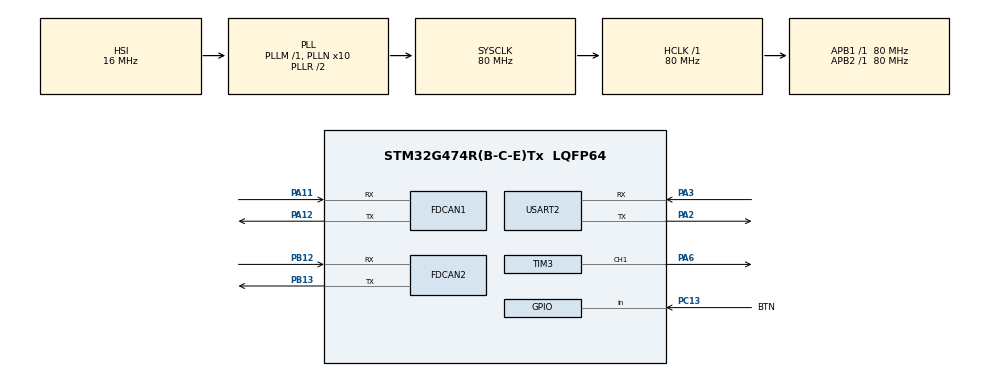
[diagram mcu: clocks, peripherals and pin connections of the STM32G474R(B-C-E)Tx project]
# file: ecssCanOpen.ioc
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FDCAN1.CalculateBaudRateNominal=500000
FDCAN1.CalculateTimeBitNominal=2000
FDCAN1.CalculateTimeQuantumNominal=125.0
FDCAN1.NominalPrescaler=10
FDCAN1.NominalTimeSeg1=13
FDCAN2.CalculateBaudRateNominal=500000
FDCAN2.CalculateTimeBitNominal=2000
FDCAN2.CalculateTimeQuantumNominal=125.0
FDCAN2.NominalPrescaler=10
FDCAN2.NominalTimeSeg1=13
Mcu.Family=STM32G4
Mcu.Name=STM32G474R(B-C-E)Tx
Mcu.Package=LQFP64
NVIC.FDCAN1_IT0_IRQn=true\:0\:0\:false\:false\:true\:true\:true\:true
NVIC.FDCAN2_IT0_IRQn=true\:0\:0\:false\:false\:true\:true\:true\:true
NVIC.PriorityGroup=NVIC_PRIORITYGROUP_4
PA11.Mode=FDCAN_Activate
PA11.Signal=FDCAN1_RX
PA12.Mode=FDCAN_Activate
PA12.Signal=FDCAN1_TX
PA2.Mode=Asynchronous
PA2.Signal=USART2_TX
PA3.Mode=Asynchronous
PA3.Signal=USART2_RX
PA6.Signal=S_TIM3_CH1
PB12.Mode=FDCAN_Activate
PB12.Signal=FDCAN2_RX
PB13.Mode=FDCAN_Activate
PB13.Signal=FDCAN2_TX
PC13.GPIO_Label=BTN
PC13.GPIO_PuPd=GPIO_PULLDOWN
PC13.Signal=GPIO_Input
ProjectManager.HeapSize=0x200
ProjectManager.StackSize=0x400
ProjectManager.TargetToolchain=STM32CubeIDE
RCC.ADC12Freq_Value=80000000
RCC.ADC345Freq_Value=80000000
RCC.AHBFreq_Value=80000000
RCC.APB1Freq_Value=80000000
RCC.APB1TimFreq_Value=80000000
RCC.APB2Freq_Value=80000000
RCC.APB2TimFreq_Value=80000000
RCC.CortexFreq_Value=80000000
RCC.EXTERNAL_CLOCK_VALUE=12288000
RCC.HCLKFreq_Value=80000000
RCC.HSE_VALUE=8000000
RCC.HSI48_VALUE=48000000
RCC.HSI_VALUE=16000000
RCC.LSE_VALUE=32768
RCC.PLLN=10
RCC.SYSCLKFreq_VALUE=80000000
RCC.SYSCLKSource=RCC_SYSCLKSOURCE_PLLCLK
RCC.USBFreq_Value=80000000
RCC.VCOOutputFreq_Value=160000000
SH.S_TIM3_CH1.0=TIM3_CH1,PWM Generation1 CH1
TIM3.Channel-PWM\ Generation1\ CH1=TIM_CHANNEL_1
TIM3.PeriodNoDither=19999
TIM3.Prescaler=79
TIM3.PulseNoDither_1=1
USART2.VirtualMode-Asynchronous=VM_ASYNC
VP_SYS_VS_DBSignals.Mode=DisableDeadBatterySignals
VP_TIM3_VS_ClockSourceINT.Mode=Internal
board=custom

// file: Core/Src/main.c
/* USER CODE BEGIN Header */
/**
  ******************************************************************************
  * @file           : main.c
  * @brief          : Main program body
  ******************************************************************************
  * @attention
  *
  * Copyright (c) 2026 STMicroelectronics.
  * All rights reserved.
  *
  * This software is licensed under terms that can be found in the LICENSE file
  * in the root directory of this software component.
  * If no LICENSE file comes with this software, it is provided AS-IS.
  *
  ******************************************************************************
  */
/* USER CODE END Header */
#include "main.h"
#include "fdcan.h"
#include "tim.h"
#include "usart.h"
#include "gpio.h"

/* USER CODE BEGIN Includes */
#include <lely/config.h>
#include <assert.h>
//#include <signal.h>
#include <stdbool.h>
#include <stdio.h>
#include <string.h>
//#include <unistd.h>
#include <stdarg.h>
/* lely-core headers */
//#include <lelc>

#include <lely/can/msg.h>
#include <lely/can/net.h>
#include <lely/co/csdo.h>
#include <lely/co/dev.h>
#include <lely/co/nmt.h>
#include <lely/co/ssdo.h>
#include <lely/co/tpdo.h>
#include <lely/util/error.h>
#include <lely/util/mempool.h>
//#include <lely/util/time.h>

#include "od_slave.h"
/* USER CODE END Includes */

/* USER CODE BEGIN PD */

#if defined(LELY_NO_CO_OBJ_DEFAULT)
#warning "LELY_NO_CO_OBJ_DEFAULT=1"
#else
#warning "LELY_NO_CO_OBJ_DEFAULT=0"
#endif

#if defined(LELY_NO_CO_OBJ_LIMITS)
#warning "LELY_NO_CO_OBJ_LIMITS=1"
#else
#warning "LELY_NO_CO_OBJ_LIMITS=0"
#endif

#if defined(LELY_NO_CO_OBJ_NAME)
#warning "LELY_NO_CO_OBJ_NAME=1"
#else
#warning "LELY_NO_CO_OBJ_NAME=0"
#endif

#if defined(LELY_NO_CO_OBJ_UPLOAD)
#warning "LELY_NO_CO_OBJ_UPLOAD=1"
#else
#warning "LELY_NO_CO_OBJ_UPLOAD=0"
#endif

#define MASTER_NODE_ID 0x01u

#define BUS_A_ID 0x00u
#define BUS_B_ID 0x01u

/* PDO-mapped object dictionary indices */
#define OD_IDX_U32 0x2100u
#define OD_IDX_I8 0x2101u
#define OD_SUBIDX 0x00u

/* Initial values for PDO-mapped objects */
#define INITIAL_VAL_U32 0xCAFE0000u
#define INITIAL_VAL_I8 ((co_integer8_t)0x7F)

/* PDO number (first TPDO) */
#define PDO_NUM 1u

/* Producer heartbeat time (ms) */
#define HB_PRODUCER_MS 500u

/* How long to produce heartbeats before stopping (seconds) */
#define HB_STOP_DELAY_SEC 5

/* ── Memory pool ───────────────────────────────────────────────────────── */

#ifndef MEMORY_POOL_SIZE
#define MEMORY_POOL_SIZE (90U * 1024U)
#endif

/* USER CODE END PD */

/* USER CODE BEGIN PV */
static uint32_t mp_guard1 = 0x11223344;
static uint8_t memory_pool[MEMORY_POOL_SIZE] __attribute__((aligned(16)));
static uint32_t mp_guard2 = 0x55667788;
static struct mempool pool;

//static volatile sig_atomic_t g_running = 1;
static co_dev_t *dev;
static co_nmt_t *nmt;
static can_net_t *net;

static co_unsigned32_t g_val_u32 = INITIAL_VAL_U32;
static co_integer8_t g_val_i8 = INITIAL_VAL_I8;
static uint32_t g_sync_count = 0;
static uint32_t g_tpdo_count = 0;

/* State machine */
enum slave_state {
  ST_WAIT_START,    /* Waiting for master NMT START */
  ST_OPERATIONAL,   /* Running with heartbeat on bus A */
  ST_HB_STOPPED,    /* Heartbeat stopped, waiting for bus switch */
  ST_RUNNING_BUS_B, /* On bus B, heartbeat re-enabled */
};
static enum slave_state g_state = ST_WAIT_START;
static struct timespec g_op_start_time;

/* ── Dual CAN sockets (vcan0 = bus A, vcan1 = bus B) ──────────────────── */

static int g_fd_a = -1; /* vcan0 */
static int g_fd_b = -1; /* vcan1 */
/* USER CODE END PV */

void SystemClock_Config(void);

/* USER CODE BEGIN 0 */

static void HAL_LOG(const char *s)
{
  if (!s) return;
  HAL_UART_Transmit(&huart2, (uint8_t*)s, (uint16_t)strlen(s), 100);
  const char crlf[] = "\r\n";
  HAL_UART_Transmit(&huart2, (uint8_t*)crlf, 2, 100);
}

static void HAL_LOGF(const char *fmt, ...)
{
  char buf[256];
  va_list ap;
  va_start(ap, fmt);
  vsnprintf(buf, sizeof(buf), fmt, ap);
  va_end(ap);
  HAL_LOG(buf);
}
/* --- STM32 replacement for x86 HAL_Clock_GetTime() --- */
void HAL_Clock_GetTime(struct timespec *tp)
{
  if (!tp) return;

  uint32_t ms = HAL_GetTick();            /* ms since boot */
  tp->tv_sec  = (time_t)(ms / 1000u);
  tp->tv_nsec = (long)((ms % 1000u) * 1000000L);
}

/* ===== Helpers: DLC map ===== */
static uint32_t len_to_fdcan_dlc(uint8_t len)
{
  switch (len) {
    case 0: return FDCAN_DLC_BYTES_0;
    case 1: return FDCAN_DLC_BYTES_1;
    case 2: return FDCAN_DLC_BYTES_2;
    case 3: return FDCAN_DLC_BYTES_3;
    case 4: return FDCAN_DLC_BYTES_4;
    case 5: return FDCAN_DLC_BYTES_5;
    case 6: return FDCAN_DLC_BYTES_6;
    case 7: return FDCAN_DLC_BYTES_7;
    default: return FDCAN_DLC_BYTES_8;
  }
}

static uint8_t fdcan_dlc_to_len(uint32_t dlc)
{
  switch (dlc) {
    case FDCAN_DLC_BYTES_0: return 0;
    case FDCAN_DLC_BYTES_1: return 1;
    case FDCAN_DLC_BYTES_2: return 2;
    case FDCAN_DLC_BYTES_3: return 3;
    case FDCAN_DLC_BYTES_4: return 4;
    case FDCAN_DLC_BYTES_5: return 5;
    case FDCAN_DLC_BYTES_6: return 6;
    case FDCAN_DLC_BYTES_7: return 7;
    case FDCAN_DLC_BYTES_8: return 8;
    default: return 8;
  }
}

/* ===== fd -> FDCAN handle ===== */
static inline FDCAN_HandleTypeDef* fd_to_fdcan(int fd)
{
  if (fd == g_fd_b) return &hfdcan2;   /* bus B */
  return &hfdcan1;                    /* bus A (default) */
}

static bool can_send_bus(int fd, const struct can_msg *msg)
{
  if (!msg) return false;

  FDCAN_HandleTypeDef *h = fd_to_fdcan(fd);

  FDCAN_TxHeaderTypeDef th;
  uint8_t data[8] = {0};

  memset(&th, 0, sizeof(th));

  /* Heurystyka: ID > 0x7FF traktujemy jako extended */
  if ((msg->id & 0x1FFFFFFFu) > 0x7FFu) {
    th.IdType = FDCAN_EXTENDED_ID;
    th.Identifier = (uint32_t)(msg->id & 0x1FFFFFFFu);
  } else {
    th.IdType = FDCAN_STANDARD_ID;
    th.Identifier = (uint32_t)(msg->id & 0x7FFu);
  }

  th.TxFrameType = FDCAN_DATA_FRAME;
  th.DataLength  = len_to_fdcan_dlc((uint8_t)((msg->len > 8) ? 8 : msg->len));
  th.ErrorStateIndicator = FDCAN_ESI_ACTIVE;
  th.BitRateSwitch = FDCAN_BRS_OFF;          /* Classic CAN */
  th.FDFormat = FDCAN_CLASSIC_CAN;           /* Classic CAN */
  th.TxEventFifoControl = FDCAN_NO_TX_EVENTS;
  th.MessageMarker = 0;

  uint8_t len = (uint8_t)((msg->len > 8) ? 8 : msg->len);
  memcpy(data, msg->data, len);

  /* UWAGA: musisz mieć HAL_FDCAN_Start() zrobione wcześniej */
  if (HAL_FDCAN_AddMessageToTxFifoQ(h, &th, data) != HAL_OK) {
    return false;
  }
  return true;
}

static bool can_recv_bus(int fd, struct can_msg *msg)
{
  if (!msg) return false;

  FDCAN_HandleTypeDef *h = fd_to_fdcan(fd);

  /* Non-blocking: jak FIFO puste -> false */
  if (HAL_FDCAN_GetRxFifoFillLevel(h, FDCAN_RX_FIFO0) == 0u) {
    return false;
  }

  FDCAN_RxHeaderTypeDef rh;
  uint8_t data[8];

  if (HAL_FDCAN_GetRxMessage(h, FDCAN_RX_FIFO0, &rh, data) != HAL_OK) {
    return false;
  }

  memset(msg, 0, sizeof(*msg));

  if (rh.IdType == FDCAN_EXTENDED_ID) {
    msg->id = (uint_least32_t)(rh.Identifier & 0x1FFFFFFFu);
  } else {
    msg->id = (uint_least32_t)(rh.Identifier & 0x7FFu);
  }

  msg->len = fdcan_dlc_to_len(rh.DataLength);
  if (msg->len > 8) msg->len = 8;
  memcpy(msg->data, data, msg->len);

  return true;
}

/* ── CAN send handler (routes by bus_id) ───────────────────────────────── */

static int can_send_handler(const struct can_msg *const msg,
                            const uint_least8_t bus_id, void *const data) {
  (void)data;

  if (bus_id == BUS_B_ID) {
    return can_send_bus(g_fd_b, msg) ? 0 : -1;
  }
  /* Default: bus A */
  return can_send_bus(g_fd_a, msg) ? 0 : -1;
}

/* ── Signal handler ────────────────────────────────────────────────────── */

//static void signal_handler(int sig)
//{
//  (void)sig;
//  g_running = 0;
//}

/* ── Stop heartbeat production ─────────────────────────────────────────── */

static void stop_heartbeat(void) {
  const co_unsigned16_t zero = 0;
  const int rc = co_dev_dn_val_req(dev, 0x1017u, 0x00u, CO_DEFTYPE_UNSIGNED16,
                                   &zero, NULL, NULL, NULL);
  if (rc != 0) {
    HAL_LOG("[SLAVE] Failed to set producer heartbeat time to 0");
  } else {
    HAL_LOG("[SLAVE] Heartbeat producer STOPPED (set to 0 ms)");
  }
}

/* ── Restart heartbeat production ──────────────────────────────────────── */

static void restart_heartbeat(void) {
  const co_unsigned16_t hb = HB_PRODUCER_MS;
  const int rc = co_dev_dn_val_req(dev, 0x1017u, 0x00u, CO_DEFTYPE_UNSIGNED16,
                                   &hb, NULL, NULL, NULL);
  if (rc != 0) {
    HAL_LOG("[SLAVE] Failed to restart heartbeat producer");
  } else {
    HAL_LOGF("[SLAVE] Heartbeat producer RESTARTED (%u ms)", HB_PRODUCER_MS);
  }
}

/* ── TPDO indication callback ──────────────────────────────────────────── */

static void tpdo_ind(co_tpdo_t *pdo, co_unsigned32_t ac, const void *ptr,
                     size_t n, void *data) {
  (void)pdo;
  (void)ptr;
  (void)n;
  (void)data;

  if (ac != 0) {
    HAL_LOGF("[SLAVE] TPDO error, abort code 0x%08X", (unsigned)ac);
    return;
  }

  ++g_tpdo_count;
  HAL_LOGF("[SLAVE] TPDO #%u sent: U32=0x%08X, I8=%d (%u bytes)", g_tpdo_count,
           (unsigned)g_val_u32, (int)g_val_i8, (unsigned)n);
}

/* ── NMT SYNC indication callback ─────────────────────────────────────── */

static void nmt_sync_ind(co_nmt_t *nmt_, co_unsigned8_t cnt, void *data) {
  (void)nmt_;
  (void)data;

  ++g_sync_count;

  /* Update OD values for the next SYNC cycle */
  ++g_val_u32;
  --g_val_i8;

  co_dev_set_val_u32(dev, OD_IDX_U32, OD_SUBIDX, g_val_u32);
  co_dev_set_val_i8(dev, OD_IDX_I8, OD_SUBIDX, g_val_i8);

  HAL_LOGF("[SLAVE] SYNC #%u produced (cnt=%u)", g_sync_count, cnt);
}

/* ── NMT command indication ────────────────────────────────────────────── */

static void cs_ind(co_nmt_t *nmt_, co_unsigned8_t cs, void *data) {
  (void)nmt_;
  (void)data;

  const char *cmd_name = "unknown";
  switch (cs) {
  case CO_NMT_CS_START:
    cmd_name = "START";
    break;
  case CO_NMT_CS_STOP:
    cmd_name = "STOP";
    break;
  case CO_NMT_CS_ENTER_PREOP:
    cmd_name = "ENTER PRE-OP";
    break;
  case CO_NMT_CS_RESET_NODE:
    cmd_name = "RESET NODE";
    break;
  case CO_NMT_CS_RESET_COMM:
    cmd_name = "RESET COMM";
    break;
  }

  HAL_LOGF("[SLAVE] Received NMT command: %s (0x%02X)", cmd_name, cs);
}

/* ── NMT heartbeat indication ─────────────────────────────────────────── */

static void hb_ind(co_nmt_t *nmt_, co_unsigned8_t id,
                   co_nmt_ec_state_t ec_state, co_nmt_ec_reason_t reason,
                   void *data) {
  (void)data;

  if (reason == CO_NMT_EC_TIMEOUT) {
    if (ec_state == CO_NMT_EC_OCCURRED) {
      HAL_LOGF("[SLAVE] Heartbeat TIMEOUT for Node 0x%02X "
               "(master lost on current bus)",
               id);
    } else {
      HAL_LOGF("[SLAVE] Heartbeat timeout RESOLVED for Node 0x%02X "
               "(master found again)",
               id);
    }
  } else if (reason == CO_NMT_EC_STATE) {
    HAL_LOGF("[SLAVE] Heartbeat state change for Node 0x%02X", id);
  }

  /* Let lely-core handle the internal NMT / redundancy actions */
  co_nmt_on_hb(nmt_, id, ec_state, reason);
}

/* ── NMT redundancy indication ─────────────────────────────────────────── */

static void rdn_ind(co_nmt_t *nmt_, co_unsigned8_t bus_id,
                    co_nmt_ecss_rdn_reason_t reason, void *data) {
  (void)nmt_;
  (void)data;

  const char *bus_name = (bus_id == BUS_B_ID) ? "B (vcan1)" : "A (vcan0)";

  switch (reason) {
  case CO_NMT_ECSS_RDN_BUS_SWITCH:
    HAL_LOGF("[SLAVE] REDUNDANCY: Bus switch — now active on bus %s", bus_name);
    /* Re-enable heartbeat after switching to redundant bus */
    if (g_state == ST_HB_STOPPED && bus_id == BUS_B_ID) {
      restart_heartbeat();
      g_state = ST_RUNNING_BUS_B;
      HAL_LOG(
          "[SLAVE] Now running on redundant bus B with all services active.");
    }
    break;
  case CO_NMT_ECSS_RDN_NO_MASTER:
    HAL_LOGF("[SLAVE] REDUNDANCY: No master detected after toggling! "
             "Entering no-master operation on bus %s",
             bus_name);
    break;
  }
}

/* ── NMT state-change indication ───────────────────────────────────────── */

static void st_ind(co_nmt_t *nmt_, co_unsigned8_t id, co_unsigned8_t st,
                   void *data) {
  (void)nmt_;
  (void)data;

  const char *state_name = "unknown";
  switch (st) {
  case CO_NMT_ST_BOOTUP:
    state_name = "BOOT-UP";
    break;
  case CO_NMT_ST_STOP:
    state_name = "STOPPED";
    break;
  case CO_NMT_ST_START:
    state_name = "OPERATIONAL";
    break;
  case CO_NMT_ST_PREOP:
    state_name = "PRE-OPERATIONAL";
    break;
  }

  HAL_LOGF("[SLAVE] Node 0x%02X state -> %s (0x%02X)", id, state_name, st);

  /* When we detect the master's heartbeat during bus selection
     (in Pre-operational), transition to Operational */
  if (id == MASTER_NODE_ID && st == CO_NMT_ST_START) {
    const co_unsigned8_t my_st = co_nmt_get_st(nmt);
    if (my_st == CO_NMT_ST_PREOP) {
      HAL_LOG("[SLAVE] Master detected — entering Operational.");
      co_nmt_cs_ind(nmt, CO_NMT_CS_START);
      /* Only enter the heartbeat-stop countdown on first boot;
         after redundancy switch, stay in ST_RUNNING_BUS_B */
      if (g_state == ST_WAIT_START) {
        g_state = ST_OPERATIONAL;
        HAL_Clock_GetTime(&g_op_start_time);
        HAL_LOG("[SLAVE] Now producing: heartbeat (500ms), SYNC (1s), TPDO "
                "(every 3rd SYNC).");
      } else {
        HAL_LOG("[SLAVE] Re-entered Operational on redundant bus.");
      }
    }
  }
}

/* USER CODE END 0 */

int main(void)
{

  /* MCU Configuration--------------------------------------------------------*/

  /* Reset of all peripherals, Initializes the Flash interface and the Systick. */
  HAL_Init();

  /* Configure the system clock */
  SystemClock_Config();

  /* Initialize all configured peripherals */
  MX_GPIO_Init();
  MX_FDCAN1_Init();
  MX_FDCAN2_Init();
  MX_TIM3_Init();
  MX_USART2_UART_Init();
  /* USER CODE BEGIN 2 */
  /* 3. Memory-pool allocator */
    alloc_t *const alloc = mempool_init(&pool, memory_pool, sizeof(memory_pool));
    assert(alloc != NULL);

    /* 4. Create CAN network (start on bus A = 0) */
    net = can_net_create(alloc, BUS_A_ID);
    assert(net != NULL);
    can_net_set_send_func(net, &can_send_handler, NULL);

    {
      struct timespec zero = {0, 0};
      int rc = can_net_set_time(net, &zero);
      assert(rc == 0);
      (void)rc;
    }

    /* 5. Initialise device from static descriptor */
    dev = od_slave_init();
    assert(dev != NULL);

    /* 6. Set initial values in object dictionary */
    co_dev_set_val_u32(dev, OD_IDX_U32, OD_SUBIDX, g_val_u32);
    co_dev_set_val_i8(dev, OD_IDX_I8, OD_SUBIDX, g_val_i8);

    /* 7. Create NMT service — internally creates SYNC, TPDO, SDO services */
    nmt = co_nmt_create(net, dev);
    assert(nmt != NULL);

    /* 8. Set NMT callbacks */
    co_nmt_set_cs_ind(nmt, &cs_ind, NULL);
    co_nmt_set_hb_ind(nmt, &hb_ind, NULL);
    co_nmt_set_ecss_rdn_ind(nmt, &rdn_ind, NULL);
    co_nmt_set_st_ind(nmt, &st_ind, NULL);

    /* 9. Set SYNC indication on NMT */
    co_nmt_set_sync_ind(nmt, &nmt_sync_ind, NULL);

    /* 10. Set TPDO indication on the NMT-managed TPDO service */
    co_tpdo_t *tpdo = co_nmt_get_tpdo(nmt, PDO_NUM);
    assert(tpdo != NULL);
    co_tpdo_set_ind(tpdo, &tpdo_ind, NULL);

    /* 11. Configure the alternate bus for the redundancy manager */
    int arc = co_nmt_set_alternate_bus_id(nmt, BUS_B_ID);
    assert(arc == 0);
    (void)arc;

    /* 12. Boot the node — enters Pre-operational for bus selection phase */
    int rc = co_nmt_cs_ind(nmt, CO_NMT_CS_RESET_NODE);
    assert(rc == 0);
    (void)rc;

    HAL_LOGF("[SLAVE] Node booted (ID=0x%02X). Waiting for master to start us.",
             co_dev_get_id(dev));
    HAL_LOGF("[SLAVE] Will stop heartbeat %d seconds after entering Operational.",
             HB_STOP_DELAY_SEC);
    HAL_LOG("[SLAVE] Press Ctrl-C to quit.");

  /* USER CODE END 2 */

  /* Infinite loop */
  /* USER CODE BEGIN WHILE */
  while (true)
  {

	  struct timespec now;
	      HAL_Clock_GetTime(&now);
	      (void)can_net_set_time(net, &now);

	      /* Receive CAN frames from BOTH buses */
	      struct can_msg msg;
	      while (can_recv_bus(g_fd_a, &msg)) {
	        (void)can_net_recv(net, &msg, BUS_A_ID);
	      }
	      while (can_recv_bus(g_fd_b, &msg)) {
	        (void)can_net_recv(net, &msg, BUS_B_ID);
	      }

	      /* State machine */
	      switch (g_state) {
	      case ST_WAIT_START:
	        /* Waiting for master NMT START — nothing to do */
	        break;

	      case ST_OPERATIONAL: {
	        long elapsed_sec = now.tv_sec - g_op_start_time.tv_sec;
	        if (elapsed_sec >= HB_STOP_DELAY_SEC) {
	          HAL_LOGF("[SLAVE] %d seconds elapsed — stopping heartbeat "
	                   "to trigger redundancy switch.",
	                   HB_STOP_DELAY_SEC);
	          stop_heartbeat();
	          g_state = ST_HB_STOPPED;
	        }
	        break;
	      }

	      case ST_HB_STOPPED:
	        /* Waiting for redundancy manager to switch buses */
	        break;

	      case ST_RUNNING_BUS_B:
	        /* Normal operation on bus B */
	        break;
	      }

	      HAL_Delay(1);

    /* USER CODE END WHILE */

    /* USER CODE BEGIN 3 */
  }
  HAL_LOG("[SLAVE] Shutting down...");

  co_nmt_destroy(nmt);
  can_net_destroy(net);
//  close_can_socket(g_fd_a);
//  close_can_socket(g_fd_b);

  HAL_LOGF("[SLAVE] Total: %u SYNC produced, %u TPDOs transmitted.",
           g_sync_count, g_tpdo_count);
  HAL_LOG("[SLAVE] Bye.");
  return 0;
  /* USER CODE END 3 */
}

void SystemClock_Config(void)
{
  RCC_OscInitTypeDef RCC_OscInitStruct = {0};
  RCC_ClkInitTypeDef RCC_ClkInitStruct = {0};

  /** Configure the main internal regulator output voltage
  */
  HAL_PWREx_ControlVoltageScaling(PWR_REGULATOR_VOLTAGE_SCALE1);

  /** Initializes the RCC Oscillators according to the specified parameters
  * in the RCC_OscInitTypeDef structure.
  */
  RCC_OscInitStruct.OscillatorType = RCC_OSCILLATORTYPE_HSI;
  RCC_OscInitStruct.HSIState = RCC_HSI_ON;
  RCC_OscInitStruct.HSICalibrationValue = RCC_HSICALIBRATION_DEFAULT;
  RCC_OscInitStruct.PLL.PLLState = RCC_PLL_ON;
  RCC_OscInitStruct.PLL.PLLSource = RCC_PLLSOURCE_HSI;
  RCC_OscInitStruct.PLL.PLLM = RCC_PLLM_DIV1;
  RCC_OscInitStruct.PLL.PLLN = 10;
  RCC_OscInitStruct.PLL.PLLP = RCC_PLLP_DIV2;
  RCC_OscInitStruct.PLL.PLLQ = RCC_PLLQ_DIV2;
  RCC_OscInitStruct.PLL.PLLR = RCC_PLLR_DIV2;
  if (HAL_RCC_OscConfig(&RCC_OscInitStruct) != HAL_OK)
  {
    Error_Handler();
  }

  /** Initializes the CPU, AHB and APB buses clocks
  */
  RCC_ClkInitStruct.ClockType = RCC_CLOCKTYPE_HCLK|RCC_CLOCKTYPE_SYSCLK
                              |RCC_CLOCKTYPE_PCLK1|RCC_CLOCKTYPE_PCLK2;
  RCC_ClkInitStruct.SYSCLKSource = RCC_SYSCLKSOURCE_PLLCLK;
  RCC_ClkInitStruct.AHBCLKDivider = RCC_SYSCLK_DIV1;
  RCC_ClkInitStruct.APB1CLKDivider = RCC_HCLK_DIV1;
  RCC_ClkInitStruct.APB2CLKDivider = RCC_HCLK_DIV1;

  if (HAL_RCC_ClockConfig(&RCC_ClkInitStruct, FLASH_LATENCY_2) != HAL_OK)
  {
    Error_Handler();
  }
}

void Error_Handler(void)
{
  __disable_irq();
  while (1)
  {
  }
}
